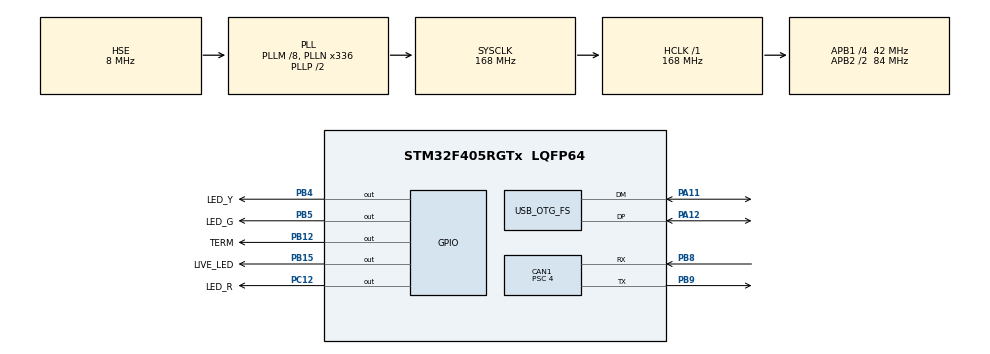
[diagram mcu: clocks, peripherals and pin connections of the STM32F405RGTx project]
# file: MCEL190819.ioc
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CAN1.BS1=CAN_BS1_16TQ
CAN1.BS2=CAN_BS2_4TQ
CAN1.CalculateTimeQuantum=95.23809523809524
CAN1.Prescaler=4
CAN1.SJW=CAN_SJW_3TQ
Mcu.Family=STM32F4
Mcu.Name=STM32F405RGTx
Mcu.Package=LQFP64
NVIC.CAN1_RX0_IRQn=true\:0\:0\:false\:false\:true\:true\:true
NVIC.CAN1_TX_IRQn=true\:0\:0\:false\:false\:true\:true\:true
NVIC.OTG_FS_IRQn=true\:0\:0\:false\:false\:true\:false\:true
NVIC.PriorityGroup=NVIC_PRIORITYGROUP_4
PA11.Mode=Device_Only
PA11.Signal=USB_OTG_FS_DM
PA12.Mode=Device_Only
PA12.Signal=USB_OTG_FS_DP
PA13.Mode=Trace_Asynchronous_SW
PA13.Signal=SYS_JTMS-SWDIO
PA14.Mode=Trace_Asynchronous_SW
PA14.Signal=SYS_JTCK-SWCLK
PB12.GPIO_Label=TERM
PB12.Signal=GPIO_Output
PB15.GPIO_Label=LIVE_LED
PB15.Signal=GPIO_Output
PB3.Mode=Trace_Asynchronous_SW
PB3.Signal=SYS_JTDO-SWO
PB4.GPIO_Label=LED_Y
PB4.Signal=GPIO_Output
PB5.GPIO_Label=LED_G
PB5.Signal=GPIO_Output
PB8.GPIO_Mode=GPIO_MODE_AF_PP
PB8.Mode=Master
PB8.Signal=CAN1_RX
PB9.Mode=Master
PB9.Signal=CAN1_TX
PC12.GPIO_Label=LED_R
PC12.Signal=GPIO_Output
PH0-OSC_IN.Mode=HSE-External-Oscillator
PH0-OSC_IN.Signal=RCC_OSC_IN
PH1-OSC_OUT.Mode=HSE-External-Oscillator
PH1-OSC_OUT.Signal=RCC_OSC_OUT
ProjectManager.HeapSize=0x200
ProjectManager.StackSize=0x400
ProjectManager.TargetToolchain=STM32CubeIDE
RCC.48MHZClocksFreq_Value=48000000
RCC.AHBFreq_Value=168000000
RCC.APB1CLKDivider=RCC_HCLK_DIV4
RCC.APB1Freq_Value=42000000
RCC.APB1TimFreq_Value=84000000
RCC.APB2CLKDivider=RCC_HCLK_DIV2
RCC.APB2Freq_Value=84000000
RCC.APB2TimFreq_Value=168000000
RCC.CortexFreq_Value=168000000
RCC.HCLKFreq_Value=168000000
RCC.HSE_VALUE=8000000
RCC.HSI_VALUE=16000000
RCC.LSE_VALUE=32768
RCC.PLLM=8
RCC.PLLN=336
RCC.PLLQ=7
RCC.SYSCLKFreq_VALUE=168000000
RCC.SYSCLKSource=RCC_SYSCLKSOURCE_PLLCLK
RCC.VCOOutputFreq_Value=336000000
USB_DEVICE.CLASS_NAME_FS=CDC
USB_DEVICE.USBD_DEBUG_LEVEL-CDC_FS=0
USB_DEVICE.VirtualMode-CDC_FS=Cdc
USB_DEVICE.VirtualModeFS=Cdc_FS
USB_OTG_FS.VirtualMode=Device_Only
VP_USB_DEVICE_VS_USB_DEVICE_CDC_FS.Mode=CDC_FS
board=custom

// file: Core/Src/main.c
/* USER CODE BEGIN Header */
/*
 */
/* USER CODE END Header */

#include "main.h"
#include "usb_device.h"

/* USER CODE BEGIN Includes */
#include <stdio.h>
#include "usb_device.h"
#include "usbd_cdc_if.h"

/* USER CODE END Includes */

CAN_HandleTypeDef hcan1;

/* USER CODE BEGIN PV */
LiveLED_HnadleTypeDef LiveLed;
DebugStateTypeDef DebugState;
DeviceTypeDef Device;
LedHandle_Type hLed;

/* USER CODE END PV */

void SystemClock_Config(void);
static void MX_GPIO_Init(void);
static void MX_CAN1_Init(void);
/* USER CODE BEGIN PFP */
void LiveLedOff(void);
void LiveLedOn(void);
void DebugTask(DebugStateTypeDef *state);
void DebugPrint(char *str);
void TestMsgSenderTask(void);
void BusTermOn(void);
void BusTermOff(void);
uint8_t CanNetLowLevelTxMailboxIsEmpty(void);
void LedRedOn(void);
void LedRedOff(void);
void LedGreenOn(void);
void LedGreenOff(void);
void LedOrangeOn(void);
void LedOrangeOff(void);

LedItem_Type LedList[] = {
  { HMI_LED_ORANGE,   &LedOrangeOn,    &LedOrangeOff    },
  { HMI_LED_GREEN,    &LedGreenOn,     &LedGreenOff,    },
  { HMI_LED_RED,      &LedRedOn,       &LedRedOff,      },
};
/* USER CODE END PFP */

/* USER CODE BEGIN 0 */

void TestMsgSenderTask(void)
{
  static int32_t timestamp;
  if(HAL_GetTick() - timestamp >= 1000)
  {
    Device.Counter ++;
    CAN_TxHeaderTypeDef   txHeader;
    uint32_t              txMailbox;
    timestamp = HAL_GetTick();
    txHeader.StdId = 0x321;
    txHeader.ExtId = 0xFFFFFFF1;
    txHeader.RTR = CAN_RTR_DATA;
    txHeader.IDE = CAN_ID_EXT;
    txHeader.DLC = 8;
    txHeader.TransmitGlobalTime = DISABLE;
    uint8_t data[8] = {0x01, 0x02, 0x03, 0x04, 0x05, 0x06, 0x7, /*(uint8_t)TickGetMs()*/ 0x08};
    if(HAL_CAN_AddTxMessage(&hcan1, &txHeader, data, &txMailbox) != HAL_OK)
    {
      DeviceErrLog("HAL_CAN_AddTxMessage");
    }
  }
}
/**
  * @brief  TestVcpTask
  */
void TestVcpTask(void)
{
  static int32_t timestamp;
  static uint64_t counter = 0;
  if(HAL_GetTick() - timestamp >= 1000)
  {
    timestamp = HAL_GetTick();

    if(Device.UART.TxRequest == 0)
    {
      char test_sentence[80] = {"Hello World"};
      sprintf(test_sentence, "%s %lld\r\n", test_sentence,counter++);

      strcpy(Device.UART.TxLine,test_sentence);
      Device.UART.TxSize = strlen(test_sentence);
      Device.UART.TxRequest = 1;
      Device.UART.TxCounter++;
    }

    if(Device.UART.RxRequest)
    {
      printf("%s\r\n",Device.UART.RxLine);
      Device.UART.RxRequest = 0;
      Device.UART.TxCounter++;
    }
  }
}

/**
  * @brief  Rx Fifo 0 message pending callback
  */
void HAL_CAN_RxFifo0MsgPendingCallback(CAN_HandleTypeDef *hcan)
{
  CAN_RxHeaderTypeDef   rxHeader;
  uint8_t               data[8];
  if (HAL_CAN_GetRxMessage(hcan, CAN_RX_FIFO0, &rxHeader, data) != HAL_OK)
  {
    DeviceErrLog("HAL_CAN_GetRxMessage");
  }

  if(rxHeader.IDE == CAN_ID_STD)
  {
    CanNetReadMsgLowLevel(&Device.CanNet, rxHeader.StdId, data, rxHeader.DLC);
    //DeviceDbgLog("RxSTD:%08X %s",rxHeader.StdId,StringPlusDataToHexaString(data, StringBuffer, rxHeader.DLC));
  }
  else
  {
    //if(rxHeader.ExtId == 0x5010100)
    {
      CanNetReadMsgLowLevel(&Device.CanNet, rxHeader.ExtId, data, rxHeader.DLC);
      //DeviceDbgLog("RxEXT:%08X %s",rxHeader.ExtId,StringPlusDataToHexaString(data, StringBuffer, rxHeader.DLC));
    }
  }
}

/**
  * @brief  Send CAN Messege
  */
uint8_t CanNetWriteMsgLowLevel(uint32_t arbId, uint8_t *data, size_t size)
{
  CAN_TxHeaderTypeDef txHeader;

  txHeader.StdId = 0;
  txHeader.ExtId = arbId;
  txHeader.RTR = CAN_RTR_DATA;
  txHeader.IDE = CAN_ID_EXT;
  txHeader.DLC = size;
  txHeader.TransmitGlobalTime = DISABLE;
  uint32_t txMailbox;

  if (HAL_CAN_AddTxMessage(&hcan1, &txHeader, data, &txMailbox) != HAL_OK)
    return CANNET_FAIL;

  HAL_Delay(10);

return CANNET_OK;
}

/* USER CODE END 0 */

int main(void)
{

  /* MCU Configuration--------------------------------------------------------*/

  /* Reset of all peripherals, Initializes the Flash interface and the Systick. */
  HAL_Init();

  /* Configure the system clock */
  SystemClock_Config();

  /* Initialize all configured peripherals */
  MX_GPIO_Init();
  MX_CAN1_Init();
  MX_USB_DEVICE_Init();
  /* USER CODE BEGIN 2 */
  /* USER CODE BEGIN 2 */
  printf("%s, %s, Init OK.\r\n", "xx", DEVICE_NAME /*DEVICE_FW*/);
  printf("HAL_RCC_GetPCLK2Freq: %dHz\r\n",(int)HAL_RCC_GetPCLK2Freq());
  printf("SystemCoreClock: %dHz\r\n",(int)SystemCoreClock);
  printf("\r\n");

  /*** LiveLed ***/
  LiveLed.LedOffFnPtr = &LiveLedOff;
  LiveLed.LedOnFnPtr = &LiveLedOn;
  LiveLed.HalfPeriodTimeMs = 500;
  LiveLedInit(&LiveLed);

  CanNetInit(&Device.CanNet, NODE_PC, 0, Messages, CanNetMessagesCount());

  /*** Leds ***/
  hLed.pLedTable = LedList;
  hLed.Records = sizeof(LedList)/sizeof(LedItem_Type);
  LedInit(&hLed);
  LedOn(&hLed, HMI_LED_GREEN);
  /* USER CODE END 2 */

  /* Infinite loop */
  /* USER CODE BEGIN WHILE */
  while (1)
  {
    LiveLedTask(&LiveLed);
    TestVcpTask();
    TestMsgSenderTask();
    CanNetTask(&Device.CanNet);
    CDC_Task_FS();
    LedTask(&hLed);
    /* USER CODE END WHILE */

  }
}

void SystemClock_Config(void)
{
  RCC_OscInitTypeDef RCC_OscInitStruct = {0};
  RCC_ClkInitTypeDef RCC_ClkInitStruct = {0};

  /** Configure the main internal regulator output voltage
  */
  __HAL_RCC_PWR_CLK_ENABLE();
  __HAL_PWR_VOLTAGESCALING_CONFIG(PWR_REGULATOR_VOLTAGE_SCALE1);
  /** Initializes the CPU, AHB and APB busses clocks
  */
  RCC_OscInitStruct.OscillatorType = RCC_OSCILLATORTYPE_HSE;
  RCC_OscInitStruct.HSEState = RCC_HSE_ON;
  RCC_OscInitStruct.PLL.PLLState = RCC_PLL_ON;
  RCC_OscInitStruct.PLL.PLLSource = RCC_PLLSOURCE_HSE;
  RCC_OscInitStruct.PLL.PLLM = 8;
  RCC_OscInitStruct.PLL.PLLN = 336;
  RCC_OscInitStruct.PLL.PLLP = RCC_PLLP_DIV2;
  RCC_OscInitStruct.PLL.PLLQ = 7;
  if (HAL_RCC_OscConfig(&RCC_OscInitStruct) != HAL_OK)
  {
    Error_Handler();
  }
  /** Initializes the CPU, AHB and APB busses clocks
  */
  RCC_ClkInitStruct.ClockType = RCC_CLOCKTYPE_HCLK|RCC_CLOCKTYPE_SYSCLK
                              |RCC_CLOCKTYPE_PCLK1|RCC_CLOCKTYPE_PCLK2;
  RCC_ClkInitStruct.SYSCLKSource = RCC_SYSCLKSOURCE_PLLCLK;
  RCC_ClkInitStruct.AHBCLKDivider = RCC_SYSCLK_DIV1;
  RCC_ClkInitStruct.APB1CLKDivider = RCC_HCLK_DIV4;
  RCC_ClkInitStruct.APB2CLKDivider = RCC_HCLK_DIV2;

  if (HAL_RCC_ClockConfig(&RCC_ClkInitStruct, FLASH_LATENCY_5) != HAL_OK)
  {
    Error_Handler();
  }
}

static void MX_CAN1_Init(void)
{

  /* USER CODE BEGIN CAN1_Init 1 */

  /*
   * Baudrate   BRP  SJW          BS1           BS2
   * 500000,    4,   CAN_SJW_3TQ, CAN_BS1_16TQ, CAN_BS2_4TQ,
   */
  /* USER CODE END CAN1_Init 1 */
  hcan1.Instance = CAN1;
  hcan1.Init.Prescaler = 4;
  hcan1.Init.Mode = CAN_MODE_NORMAL;
  hcan1.Init.SyncJumpWidth = CAN_SJW_3TQ;
  hcan1.Init.TimeSeg1 = CAN_BS1_16TQ;
  hcan1.Init.TimeSeg2 = CAN_BS2_4TQ;
  hcan1.Init.TimeTriggeredMode = DISABLE;
  hcan1.Init.AutoBusOff = DISABLE;
  hcan1.Init.AutoWakeUp = DISABLE;
  hcan1.Init.AutoRetransmission = DISABLE;
  hcan1.Init.ReceiveFifoLocked = DISABLE;
  hcan1.Init.TransmitFifoPriority = DISABLE;
  if (HAL_CAN_Init(&hcan1) != HAL_OK)
  {
    Error_Handler();
  }
  /* USER CODE BEGIN CAN1_Init 2 */

  /*** Filter Init***/
  CAN_FilterTypeDef  sFilterConfig;
  sFilterConfig.FilterBank = 0;
  sFilterConfig.FilterMode = CAN_FILTERMODE_IDMASK;
  sFilterConfig.FilterScale = CAN_FILTERSCALE_32BIT;
  sFilterConfig.FilterIdHigh = 0x0000;
  sFilterConfig.FilterIdLow = 0x0000;
  sFilterConfig.FilterMaskIdHigh = 0x0000;
  sFilterConfig.FilterMaskIdLow = 0x0000;
  sFilterConfig.FilterFIFOAssignment = CAN_RX_FIFO0;
  sFilterConfig.FilterActivation = ENABLE;
  sFilterConfig.SlaveStartFilterBank = 14;

  if(HAL_CAN_ConfigFilter(&hcan1, &sFilterConfig) != HAL_OK)
  {
    DeviceErrLog("HAL_CAN_ConfigFilter");
  }

  /*** Activate CAN RX notification ***/
  if (HAL_CAN_ActivateNotification(&hcan1, CAN_IT_RX_FIFO0_MSG_PENDING) != HAL_OK)
  {
    DeviceErrLog("HAL_CAN_ActivateNotification");
  }

  /*** Bus Termination***/
  BusTermOn();

/*** Start the CAN peripheral ***/
if (HAL_CAN_Start(&hcan1) != HAL_OK)
{
  DeviceErrLog("HAL_CAN_Start");
}
  /* USER CODE END CAN1_Init 2 */

}

static void MX_GPIO_Init(void)
{
  GPIO_InitTypeDef GPIO_InitStruct = {0};

  /* GPIO Ports Clock Enable */
  __HAL_RCC_GPIOH_CLK_ENABLE();
  __HAL_RCC_GPIOB_CLK_ENABLE();
  __HAL_RCC_GPIOA_CLK_ENABLE();
  __HAL_RCC_GPIOC_CLK_ENABLE();

  /*Configure GPIO pin Output Level */
  HAL_GPIO_WritePin(GPIOB, TERM_Pin|LIVE_LED_Pin|LED_Y_Pin|LED_G_Pin, GPIO_PIN_RESET);

  /*Configure GPIO pin Output Level */
  HAL_GPIO_WritePin(LED_R_GPIO_Port, LED_R_Pin, GPIO_PIN_RESET);

  /*Configure GPIO pins : TERM_Pin LIVE_LED_Pin LED_Y_Pin LED_G_Pin */
  GPIO_InitStruct.Pin = TERM_Pin|LIVE_LED_Pin|LED_Y_Pin|LED_G_Pin;
  GPIO_InitStruct.Mode = GPIO_MODE_OUTPUT_PP;
  GPIO_InitStruct.Pull = GPIO_NOPULL;
  GPIO_InitStruct.Speed = GPIO_SPEED_FREQ_LOW;
  HAL_GPIO_Init(GPIOB, &GPIO_InitStruct);

  /*Configure GPIO pin : LED_R_Pin */
  GPIO_InitStruct.Pin = LED_R_Pin;
  GPIO_InitStruct.Mode = GPIO_MODE_OUTPUT_PP;
  GPIO_InitStruct.Pull = GPIO_NOPULL;
  GPIO_InitStruct.Speed = GPIO_SPEED_FREQ_LOW;
  HAL_GPIO_Init(LED_R_GPIO_Port, &GPIO_InitStruct);

}

/* USER CODE BEGIN 4 */
/* printf -------------------------------------------------------------------*/
int _write(int file, char *ptr, int len)
{
  int i=0;
  for(i=0 ; i<len ; i++)
    ITM_SendChar((*ptr++));
  return len;
}

/* LEDs ---------------------------------------------------------------------*/
void LiveLedOn(void)
{
  HAL_GPIO_WritePin(LIVE_LED_GPIO_Port, LIVE_LED_Pin, GPIO_PIN_SET);
}

void LiveLedOff(void)
{
  HAL_GPIO_WritePin(LIVE_LED_GPIO_Port, LIVE_LED_Pin, GPIO_PIN_RESET);
}

void LedRedOn(void)
{
  HAL_GPIO_WritePin(LED_R_GPIO_Port, LED_R_Pin,GPIO_PIN_SET );
}
void LedRedOff(void)
{
  HAL_GPIO_WritePin(LED_R_GPIO_Port, LED_R_Pin, GPIO_PIN_RESET);
}

void LedOrangeOn(void)
{
  HAL_GPIO_WritePin(LED_Y_GPIO_Port, LED_Y_Pin,GPIO_PIN_SET );
}
void LedOrangeOff(void)
{
  HAL_GPIO_WritePin(LED_Y_GPIO_Port, LED_Y_Pin, GPIO_PIN_RESET);
}

void LedGreenOn(void)
{
  HAL_GPIO_WritePin(LED_G_GPIO_Port, LED_G_Pin, GPIO_PIN_SET);
}
void LedGreenOff(void)
{
  HAL_GPIO_WritePin(LED_G_GPIO_Port, LED_G_Pin, GPIO_PIN_RESET);
}

/* TERM ---------------------------------------------------------------------*/
void BusTermOn(void)
{
  HAL_GPIO_WritePin(TERM_GPIO_Port, TERM_Pin, GPIO_PIN_SET);
}
void BusTermOff(void)
{
  HAL_GPIO_WritePin(TERM_GPIO_Port, TERM_Pin, GPIO_PIN_RESET);
}

/* CANNET ---------------------------------------------------------------------*/
uint8_t CanNetLowLevelTxMailboxIsEmpty(void)
{
  if(HAL_CAN_GetTxMailboxesFreeLevel(&hcan1) != 0)
    return CANNET_EMPTY;
  else
    return CANNET_FULL;
}

/* USER CODE END 4 */

void Error_Handler(void)
{
}

/************************ (C) COPYRIGHT STMicroelectronics *****END OF FILE****/
